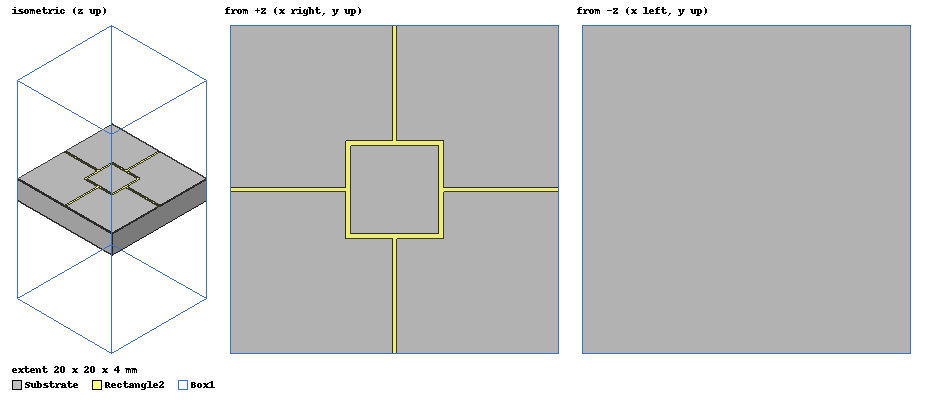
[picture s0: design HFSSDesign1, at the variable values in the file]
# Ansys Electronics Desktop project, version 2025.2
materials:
  vacuum: permittivity=1
  FR4_epoxy: permittivity=4.4 dielectric_loss_tangent=0.02

design HFSSDesign1 (HFSS, HFSS Terminal Network, model units mm)
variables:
  p = 20mm
  t = 4mm
  l = 5.4mm
  w = 0.3mm
  H = 40mm
  Phi_scan = 0deg
  Theta_scan = 0deg
  b = 20mm
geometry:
  Substrate [FR4_epoxy] = box(corner=(-p/2, -p/2, t/2), size=(p, p, -t))
  Rectangle1 = rectangle(corner=(-l/2, -l/2, t/2), x_size=l, y_size=l)
  Rectangle2 = rectangle(corner=(-(2*w+l)/2, -(2*w+l)/2, t/2), x_size=2*w+l, y_size=2*w+l)
  Rectangle2.subtract(Rectangle1)
  Rectangle3 = rectangle(corner=(-w/2, (p/2), t/2), x_size=w, y_size=-(p/2-l/2-w/2))
  Rectangle3_1 = Rectangle3.duplicate_around_axis(axis=Z, angle=90deg, total=2)
  Rectangle3_2 = Rectangle3.duplicate_around_axis(axis=Z, angle=180deg, total=2)
  Rectangle3_1_1 = Rectangle3_1.duplicate_around_axis(axis=Z, angle=180deg, total=2)
  Rectangle2.unite(Rectangle3, Rectangle3_1, Rectangle3_1_1, Rectangle3_2)
  Box1 [vacuum] = box(corner=(b/2, b/2, -H/2), size=(-b, -b, H))
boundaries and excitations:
  Primary1: Primary Faces=Box1.face(+x) CoordSysVector{(10, -10, 20) -> (10, 10, 20)}
  Primary2: Primary Faces=Box1.face(-y) CoordSysVector{(10, -10, 20) -> (-10, -10, 20)} ReverseV
  Secondary1: Secondary Faces=Box1.face(-x) CoordSysVector{(-10, -10, 20) -> (-10, 10, 20)} ReverseV primary=Primary1 PhaseDelay=UseScanAngle Phi=Phi_scan Theta=Theta_scan
  Secondary2: Secondary Faces=Box1.face(+y) CoordSysVector{(10, 10, 20) -> (-10, 10, 20)} primary=Primary2 PhaseDelay=UseScanAngle Phi=Phi_scan Theta=Theta_scan
  PerfE: Perfect E Objects=Rectangle2
  FloquetPort2: Floquet Port Faces=Box1.face(+z) NumModes=2 Modes{Mode1{CharImp=Zpi} Mode2{CharImp=Zpi}} PhaseDelay=UseScanAngle Phi=Phi_scan Theta=Theta_scan LatticeAVector{(10, -10, 20) -> (-10, -10, 20)} LatticeBVector{(10, -10, 20) -> (10, 10, 20)} ModesList{Mode{ModeNumber=1 IndexM=0 IndexN=0 KC2=0 PropagationState=Propagating Attenuation=0 PolarizationState=TE} Mode{ModeNumber=2 IndexM=0 IndexN=0 KC2=0 PropagationState=Propagating Attenuation=0 PolarizationState=TM}}
  FloquetPort1: Floquet Port Faces=Box1.face(-z) NumModes=2 Modes{Mode1{CharImp=Zpi} Mode2{CharImp=Zpi}} PhaseDelay=UseScanAngle Phi=Phi_scan Theta=Theta_scan LatticeAVector{(10, -10, -20) -> (-10, -10, -20)} LatticeBVector{(10, -10, -20) -> (10, 10, -20)} ModesList{Mode{ModeNumber=1 IndexM=0 IndexN=0 KC2=0 PropagationState=Propagating Attenuation=0 PolarizationState=TE AffectsRefinement} Mode{ModeNumber=2 IndexM=0 IndexN=0 KC2=0 PropagationState=Propagating Attenuation=0 PolarizationState=TM AffectsRefinement}}
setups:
  Setup1: HfssDriven Frequency=5.15GHz MaxDeltaS=0.02 MaximumPasses=20 MinimumPasses=1 MinimumConvergedPasses=1 PercentRefinement=30 BasisOrder=1 PortAccuracy=2 DrivenSolverType="Direct Solver"
    sweep Sweep: 3GHz to 6GHz, 401 points; Type=Interpolating InterpTolerance=0.5 InterpMaxSolns=250 PassivityErrorTolerance=0.0001
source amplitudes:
  FloquetPort2:1: 1V 0deg
  FloquetPort2:2, FloquetPort1:1, FloquetPort1:2: 0V 0deg
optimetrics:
  ParametricSetup1: Parametric Sim._Setups=[Setup1]
    sweep w: LIN 0.3mm 0.9mm 0.3mm
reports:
  Terminal S Parameter Plot1: dB(St(FloquetPort1:1,FloquetPort1:1)), dB(St(FloquetPort2:1,FloquetPort1:1)) vs Freq on Setup1 : Sweep; markers m2 at 3.95GHz
  Terminal S Parameter Plot2: dB(St(FloquetPort1:1,FloquetPort1:1)), dB(St(FloquetPort2:1,FloquetPort1:1)) vs Freq on Setup1 : Sweep [w=all]
  Terminal S Parameter Plot3: dB(St(FloquetPort1:1,FloquetPort1:1)), ang_deg(St(FloquetPort1:1,FloquetPort1:1)), dB(St(FloquetPort2:1,FloquetPort1:1)), ang_deg(St(FloquetPort2:1,FloquetPort1:1)) vs Freq on Setup1 : Sweep [w=all]
  Terminal S Parameter Plot4: re(St(FloquetPort1:1,FloquetPort1:1)), im(St(FloquetPort1:1,FloquetPort1:1)), re(St(FloquetPort2:1,FloquetPort1:1)), im(St(FloquetPort2:1,FloquetPort1:1)) vs Freq on Setup1 : Sweep
